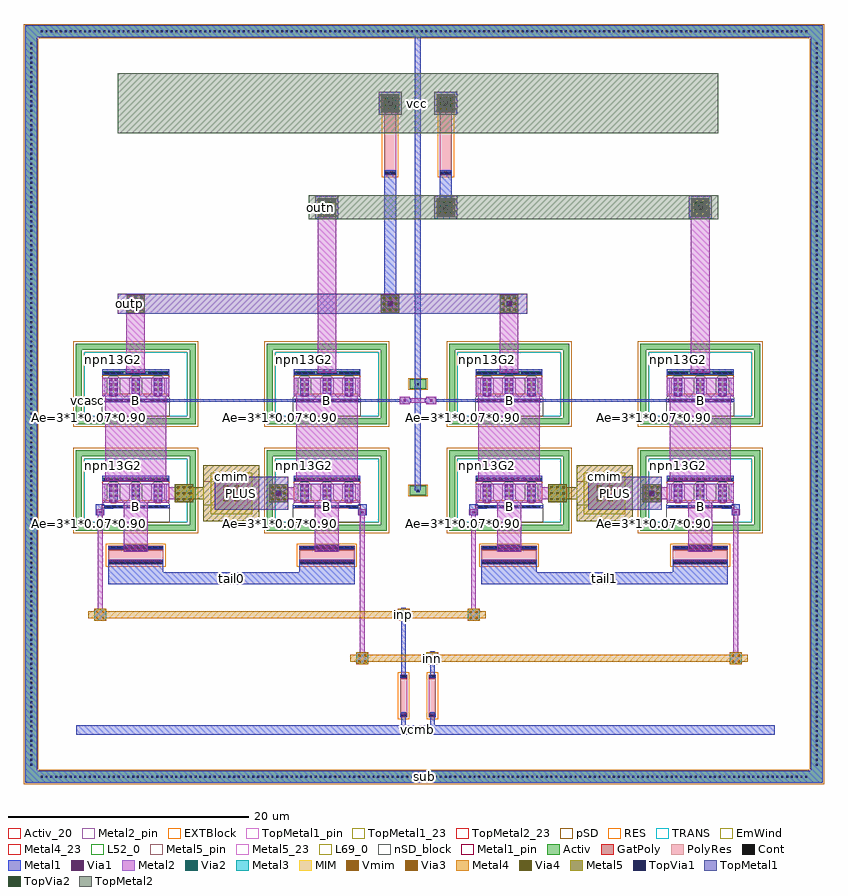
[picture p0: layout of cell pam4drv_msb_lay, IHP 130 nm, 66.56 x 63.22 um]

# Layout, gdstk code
import gdstk
lib = gdstk.Library(unit=1e-6, precision=1e-09)
def R(c, l, rs):  # rectangles x0, y0, x1, y1
    for r in rs: c.add(gdstk.rectangle(r[:2], r[2:], *l))
def A(c, l, x, y, w, h, nx, ny, dx, dy):  # array of equal rectangles
    R(c, l, [(x+i*dx, y+j*dy, x+i*dx+w, y+j*dy+h) for i in range(nx) for j in range(ny)])
def P(c, l, *ps):  # polygons
    for p in ps: c.add(gdstk.Polygon(p, *l))
Activ = (1, 0)
Activ_20 = (1, 20)
GatPoly = (5, 0)
Cont = (6, 0)
nSD_block = (7, 21)
Metal1 = (8, 0)
Metal1_pin = (8, 2)
Metal2 = (10, 0)
Metal2_pin = (10, 2)
pSD = (14, 0)
Via1 = (19, 0)
RES = (24, 0)
TRANS = (26, 0)
Via2 = (29, 0)
Metal3 = (30, 0)
EmWind = (33, 0)
MIM = (36, 0)
Via3 = (49, 0)
Metal4 = (50, 0)
Metal4_23 = (50, 23)
L52_0 = (52, 0)
Via4 = (66, 0)
Metal5 = (67, 0)
Metal5_pin = (67, 2)
Metal5_23 = (67, 23)
L69_0 = (69, 0)
EXTBlock = (111, 0)
TopVia1 = (125, 0)
TopMetal1 = (126, 0)
TopMetal1_pin = (126, 2)
TopMetal1_23 = (126, 23)
PolyRes = (128, 0)
Vmim = (129, 0)
TopVia2 = (133, 0)
TopMetal2 = (134, 0)
TopMetal2_23 = (134, 23)

pam4drv_msb_lay = lib.new_cell('pam4drv_msb_lay')
R(pam4drv_msb_lay, Activ, [(-0.7,3.165,0.7,3.945), (-26.255,4.31,-20.705,4.61), (-10.355,4.31,-4.805,4.61), (4.805,4.31,10.355,4.61), (20.705,4.31,26.255,4.61), (-0.7,12.015,0.7,12.795), (-26.255,13.16,-20.705,13.46), (-10.355,13.16,-4.805,13.46), (4.805,13.16,10.355,13.46), (20.705,13.16,26.255,13.46)])
P(pam4drv_msb_lay, Activ, [(-28.48,0.2),(-28.48,6.41),(-27.98,6.41),(-27.98,0.7),(-18.98,0.7),(-18.98,6.41),(-28.48,6.41),(-28.48,6.91),(-18.48,6.91),(-18.48,0.2)],
  [(-12.58,0.2),(-12.58,6.41),(-12.08,6.41),(-12.08,0.7),(-3.08,0.7),(-3.08,6.41),(-12.58,6.41),(-12.58,6.91),(-2.58,6.91),(-2.58,0.2)],
  [(2.58,0.2),(2.58,6.41),(3.08,6.41),(3.08,0.7),(12.08,0.7),(12.08,6.41),(2.58,6.41),(2.58,6.91),(12.58,6.91),(12.58,0.2)],
  [(18.48,0.2),(18.48,6.41),(18.98,6.41),(18.98,0.7),(27.98,0.7),(27.98,6.41),(18.48,6.41),(18.48,6.91),(28.48,6.91),(28.48,0.2)],
  [(-28.48,9.05),(-28.48,15.26),(-27.98,15.26),(-27.98,9.55),(-18.98,9.55),(-18.98,15.26),(-28.48,15.26),(-28.48,15.76),(-18.48,15.76),(-18.48,9.05)],
  [(-12.58,9.05),(-12.58,15.26),(-12.08,15.26),(-12.08,9.55),(-3.08,9.55),(-3.08,15.26),(-12.58,15.26),(-12.58,15.76),(-2.58,15.76),(-2.58,9.05)],
  [(2.58,9.05),(2.58,15.26),(3.08,15.26),(3.08,9.55),(12.08,9.55),(12.08,15.26),(2.58,15.26),(2.58,15.76),(12.58,15.76),(12.58,9.05)],
  [(18.48,9.05),(18.48,15.26),(18.98,15.26),(18.98,9.55),(27.98,9.55),(27.98,15.26),(18.48,15.26),(18.48,15.76),(28.48,15.76),(28.48,9.05)],
  [(-32.68,-20.76),(-32.68,41.26),(-31.68,41.26),(-31.68,-19.76),(32.68,-19.76),(32.68,41.26),(-32.68,41.26),(-32.68,42.26),(33.68,42.26),(33.68,-20.76)])
P(pam4drv_msb_lay, Activ_20, [(-25.565,2.5),(-25.775,2.71),(-26.255,2.71),(-26.255,4.31),(-20.705,4.31),(-20.705,2.71),(-21.185,2.71),(-21.395,2.5),(-21.865,2.5),(-22.075,2.71),(-23.035,2.71),(-23.245,2.5),(-23.715,2.5),(-23.925,2.71),(-24.885,2.71),(-25.095,2.5)],
  [(-9.665,2.5),(-9.875,2.71),(-10.355,2.71),(-10.355,4.31),(-4.805,4.31),(-4.805,2.71),(-5.285,2.71),(-5.495,2.5),(-5.965,2.5),(-6.175,2.71),(-7.135,2.71),(-7.345,2.5),(-7.815,2.5),(-8.025,2.71),(-8.985,2.71),(-9.195,2.5)],
  [(5.495,2.5),(5.285,2.71),(4.805,2.71),(4.805,4.31),(10.355,4.31),(10.355,2.71),(9.875,2.71),(9.665,2.5),(9.195,2.5),(8.985,2.71),(8.025,2.71),(7.815,2.5),(7.345,2.5),(7.135,2.71),(6.175,2.71),(5.965,2.5)],
  [(21.395,2.5),(21.185,2.71),(20.705,2.71),(20.705,4.31),(26.255,4.31),(26.255,2.71),(25.775,2.71),(25.565,2.5),(25.095,2.5),(24.885,2.71),(23.925,2.71),(23.715,2.5),(23.245,2.5),(23.035,2.71),(22.075,2.71),(21.865,2.5)],
  [(-25.565,11.35),(-25.775,11.56),(-26.255,11.56),(-26.255,13.16),(-20.705,13.16),(-20.705,11.56),(-21.185,11.56),(-21.395,11.35),(-21.865,11.35),(-22.075,11.56),(-23.035,11.56),(-23.245,11.35),(-23.715,11.35),(-23.925,11.56),(-24.885,11.56),(-25.095,11.35)],
  [(-9.665,11.35),(-9.875,11.56),(-10.355,11.56),(-10.355,13.16),(-4.805,13.16),(-4.805,11.56),(-5.285,11.56),(-5.495,11.35),(-5.965,11.35),(-6.175,11.56),(-7.135,11.56),(-7.345,11.35),(-7.815,11.35),(-8.025,11.56),(-8.985,11.56),(-9.195,11.35)],
  [(5.495,11.35),(5.285,11.56),(4.805,11.56),(4.805,13.16),(10.355,13.16),(10.355,11.56),(9.875,11.56),(9.665,11.35),(9.195,11.35),(8.985,11.56),(8.025,11.56),(7.815,11.35),(7.345,11.35),(7.135,11.56),(6.175,11.56),(5.965,11.35)],
  [(21.395,11.35),(21.185,11.56),(20.705,11.56),(20.705,13.16),(26.255,13.16),(26.255,11.56),(25.775,11.56),(25.565,11.35),(25.095,11.35),(24.885,11.56),(23.925,11.56),(23.715,11.35),(23.245,11.35),(23.035,11.56),(22.075,11.56),(21.865,11.35)])
R(pam4drv_msb_lay, GatPoly, [(-1.49,-15.31,-0.91,-14.96), (0.91,-15.31,1.49,-14.96), (-1.49,-12.11,-0.91,-11.76), (0.91,-12.11,1.49,-11.76), (-25.785,-2.6,-21.175,-2.25), (-9.885,-2.6,-5.275,-2.25), (5.275,-2.6,9.885,-2.25), (21.175,-2.6,25.785,-2.25), (-25.785,-1.4,-21.175,-1.05), (-9.885,-1.4,-5.275,-1.05), (5.275,-1.4,9.885,-1.05), (21.175,-1.4,25.785,-1.05), (-2.825,29.78,-1.815,30.13), (1.815,29.78,2.825,30.13), (-2.825,35.56,-1.815,35.91), (1.815,35.56,2.825,35.91)])
A(pam4drv_msb_lay, Cont, -31.38, -20.34, 0.16, 0.16, 160, 2, 0.4, 62.02)
A(pam4drv_msb_lay, Cont, -32.26, -19.33, 0.16, 0.16, 1, 151, 0, 0.4)
A(pam4drv_msb_lay, Cont, 33.1, -19.33, 0.16, 0.16, 1, 151, 0, 0.4)
A(pam4drv_msb_lay, Cont, -26.09, 2.11, 1.52, 0.16, 3, 2, 1.85, 8.85)
A(pam4drv_msb_lay, Cont, -10.19, 2.11, 1.52, 0.16, 3, 2, 1.85, 8.85)
A(pam4drv_msb_lay, Cont, 4.97, 2.11, 1.52, 0.16, 3, 2, 1.85, 8.85)
A(pam4drv_msb_lay, Cont, 20.87, 2.11, 1.52, 0.16, 3, 2, 1.85, 8.85)
A(pam4drv_msb_lay, Cont, -26.155, 4.38, 1.65, 0.16, 3, 2, 1.85, 8.85)
A(pam4drv_msb_lay, Cont, -10.255, 4.38, 1.65, 0.16, 3, 2, 1.85, 8.85)
A(pam4drv_msb_lay, Cont, 4.905, 4.38, 1.65, 0.16, 3, 2, 1.85, 8.85)
A(pam4drv_msb_lay, Cont, 20.805, 4.38, 1.65, 0.16, 3, 2, 1.85, 8.85)
R(pam4drv_msb_lay, Cont, [(-1.42,-15.24,-0.98,-15.08), (0.98,-15.24,1.42,-15.08), (-1.42,-11.99,-0.98,-11.83), (0.98,-11.99,1.42,-11.83), (-25.715,-2.53,-21.245,-2.37), (-9.815,-2.53,-5.345,-2.37), (5.345,-2.53,9.815,-2.37), (21.245,-2.53,25.715,-2.37), (-25.715,-1.28,-21.245,-1.12), (-9.815,-1.28,-5.345,-1.12), (5.345,-1.28,9.815,-1.12), (21.245,-1.28,25.715,-1.12), (-0.08,3.475,0.08,3.635), (-0.08,12.325,0.08,12.485), (-2.755,29.85,-1.885,30.01), (1.885,29.85,2.755,30.01), (-2.755,35.68,-1.885,35.84), (1.885,35.68,2.755,35.84)])
P(pam4drv_msb_lay, nSD_block, [(-26.305,0.9),(-26.305,2.43),(-25.885,2.85),(-25.885,4.02),(-25.635,4.27),(-25.025,4.27),(-24.775,4.02),(-24.775,2.85),(-24.405,2.48),(-24.035,2.85),(-24.035,4.02),(-23.785,4.27),(-23.175,4.27),(-22.925,4.02),(-22.925,2.85),(-22.555,2.48),(-22.185,2.85),(-22.185,4.02),(-21.935,4.27),(-21.325,4.27),(-21.075,4.02),(-21.075,2.85),(-20.655,2.43),(-20.655,0.9)],
  [(-10.405,0.9),(-10.405,2.43),(-9.985,2.85),(-9.985,4.02),(-9.735,4.27),(-9.125,4.27),(-8.875,4.02),(-8.875,2.85),(-8.505,2.48),(-8.135,2.85),(-8.135,4.02),(-7.885,4.27),(-7.275,4.27),(-7.025,4.02),(-7.025,2.85),(-6.655,2.48),(-6.285,2.85),(-6.285,4.02),(-6.035,4.27),(-5.425,4.27),(-5.175,4.02),(-5.175,2.85),(-4.755,2.43),(-4.755,0.9)],
  [(4.755,0.9),(4.755,2.43),(5.175,2.85),(5.175,4.02),(5.425,4.27),(6.035,4.27),(6.285,4.02),(6.285,2.85),(6.655,2.48),(7.025,2.85),(7.025,4.02),(7.275,4.27),(7.885,4.27),(8.135,4.02),(8.135,2.85),(8.505,2.48),(8.875,2.85),(8.875,4.02),(9.125,4.27),(9.735,4.27),(9.985,4.02),(9.985,2.85),(10.405,2.43),(10.405,0.9)],
  [(20.655,0.9),(20.655,2.43),(21.075,2.85),(21.075,4.02),(21.325,4.27),(21.935,4.27),(22.185,4.02),(22.185,2.85),(22.555,2.48),(22.925,2.85),(22.925,4.02),(23.175,4.27),(23.785,4.27),(24.035,4.02),(24.035,2.85),(24.405,2.48),(24.775,2.85),(24.775,4.02),(25.025,4.27),(25.635,4.27),(25.885,4.02),(25.885,2.85),(26.305,2.43),(26.305,0.9)],
  [(-26.305,9.75),(-26.305,11.28),(-25.885,11.7),(-25.885,12.87),(-25.635,13.12),(-25.025,13.12),(-24.775,12.87),(-24.775,11.7),(-24.405,11.33),(-24.035,11.7),(-24.035,12.87),(-23.785,13.12),(-23.175,13.12),(-22.925,12.87),(-22.925,11.7),(-22.555,11.33),(-22.185,11.7),(-22.185,12.87),(-21.935,13.12),(-21.325,13.12),(-21.075,12.87),(-21.075,11.7),(-20.655,11.28),(-20.655,9.75)],
  [(-10.405,9.75),(-10.405,11.28),(-9.985,11.7),(-9.985,12.87),(-9.735,13.12),(-9.125,13.12),(-8.875,12.87),(-8.875,11.7),(-8.505,11.33),(-8.135,11.7),(-8.135,12.87),(-7.885,13.12),(-7.275,13.12),(-7.025,12.87),(-7.025,11.7),(-6.655,11.33),(-6.285,11.7),(-6.285,12.87),(-6.035,13.12),(-5.425,13.12),(-5.175,12.87),(-5.175,11.7),(-4.755,11.28),(-4.755,9.75)],
  [(4.755,9.75),(4.755,11.28),(5.175,11.7),(5.175,12.87),(5.425,13.12),(6.035,13.12),(6.285,12.87),(6.285,11.7),(6.655,11.33),(7.025,11.7),(7.025,12.87),(7.275,13.12),(7.885,13.12),(8.135,12.87),(8.135,11.7),(8.505,11.33),(8.875,11.7),(8.875,12.87),(9.125,13.12),(9.735,13.12),(9.985,12.87),(9.985,11.7),(10.405,11.28),(10.405,9.75)],
  [(20.655,9.75),(20.655,11.28),(21.075,11.7),(21.075,12.87),(21.325,13.12),(21.935,13.12),(22.185,12.87),(22.185,11.7),(22.555,11.33),(22.925,11.7),(22.925,12.87),(23.175,13.12),(23.785,13.12),(24.035,12.87),(24.035,11.7),(24.405,11.33),(24.775,11.7),(24.775,12.87),(25.025,13.12),(25.635,13.12),(25.885,12.87),(25.885,11.7),(26.305,11.28),(26.305,9.75)])
A(pam4drv_msb_lay, Metal1, -25.68, 2.545, 0.7, 1.555, 3, 2, 1.85, 8.85)
A(pam4drv_msb_lay, Metal1, -9.78, 2.545, 0.7, 1.555, 3, 2, 1.85, 8.85)
A(pam4drv_msb_lay, Metal1, 5.38, 2.545, 0.7, 1.555, 3, 2, 1.85, 8.85)
A(pam4drv_msb_lay, Metal1, 21.28, 2.545, 0.7, 1.555, 3, 2, 1.85, 8.85)
R(pam4drv_msb_lay, Metal1, [(-3.08,35,-1.56,36.52), (1.56,35,3.08,36.52)])
P(pam4drv_msb_lay, Metal1, [(-28.435,-16.76),(-28.435,-15.96),(-1.4,-15.96),(-1.4,-15.29),(-1.47,-15.29),(-1.47,-15.03),(-1.4,-15.03),(-1.4,-14.91),(-1,-14.91),(-1,-15.03),(-0.93,-15.03),(-0.93,-15.29),(-1,-15.29),(-1,-15.96),(1,-15.96),(1,-15.29),(0.93,-15.29),(0.93,-15.03),(1,-15.03),(1,-14.91),(1.4,-14.91),(1.4,-15.03),(1.47,-15.03),(1.47,-15.29),(1.4,-15.29),(1.4,-15.96),(29.68,-15.96),(29.68,-16.76)],
  [(0.93,-12.04),(0.93,-11.78),(1,-11.78),(1,-10.91),(0.7,-10.91),(0.7,-9.91),(1,-9.91),(1,-9.81),(1.4,-9.81),(1.4,-9.91),(1.7,-9.91),(1.7,-10.91),(1.4,-10.91),(1.4,-11.78),(1.47,-11.78),(1.47,-12.04)],
  [(-1.47,-12.04),(-1.47,-11.78),(-1.4,-11.78),(-1.4,-7.28),(-1.7,-7.28),(-1.7,-6.28),(-1.4,-6.28),(-1.4,-6.18),(-1,-6.18),(-1,-6.28),(-0.7,-6.28),(-0.7,-7.28),(-1,-7.28),(-1,-11.78),(-0.93,-11.78),(-0.93,-12.04)],
  [(-25.785,-4.25),(-25.785,-2.2),(-21.175,-2.2),(-21.175,-3.25),(-9.885,-3.25),(-9.885,-2.2),(-5.275,-2.2),(-5.275,-4.25)],
  [(5.275,-4.25),(5.275,-2.2),(9.885,-2.2),(9.885,-3.25),(21.175,-3.25),(21.175,-2.2),(25.785,-2.2),(25.785,-4.25)],
  [(-24.38,-1.45),(-24.38,-1.33),(-25.765,-1.33),(-25.765,-1.07),(-24.38,-1.07),(-24.38,-0.95),(-22.58,-0.95),(-22.58,-1.07),(-21.195,-1.07),(-21.195,-1.33),(-22.58,-1.33),(-22.58,-1.45)],
  [(-8.48,-1.45),(-8.48,-1.33),(-9.865,-1.33),(-9.865,-1.07),(-8.48,-1.07),(-8.48,-0.95),(-6.68,-0.95),(-6.68,-1.07),(-5.295,-1.07),(-5.295,-1.33),(-6.68,-1.33),(-6.68,-1.45)],
  [(6.68,-1.45),(6.68,-1.33),(5.295,-1.33),(5.295,-1.07),(6.68,-1.07),(6.68,-0.95),(8.48,-0.95),(8.48,-1.07),(9.865,-1.07),(9.865,-1.33),(8.48,-1.33),(8.48,-1.45)],
  [(22.58,-1.45),(22.58,-1.33),(21.195,-1.33),(21.195,-1.07),(22.58,-1.07),(22.58,-0.95),(24.38,-0.95),(24.38,-1.07),(25.765,-1.07),(25.765,-1.33),(24.38,-1.33),(24.38,-1.45)],
  [(-26.785,1.49),(-26.785,2.4),(-26.085,2.4),(-26.085,2.34),(-25.33,2.34),(-25.33,2.32),(-20.78,2.32),(-20.78,2.31),(-20.655,2.31),(-20.655,2.07),(-20.78,2.07),(-20.78,2.06),(-25.33,2.06),(-25.33,2.04),(-26.085,2.04),(-26.085,1.49)],
  [(-4.975,1.49),(-4.975,2.04),(-5.73,2.04),(-5.73,2.06),(-10.28,2.06),(-10.28,2.07),(-10.405,2.07),(-10.405,2.31),(-10.28,2.31),(-10.28,2.32),(-5.73,2.32),(-5.73,2.34),(-4.975,2.34),(-4.975,2.4),(-4.275,2.4),(-4.275,1.49)],
  [(4.275,1.49),(4.275,2.4),(4.975,2.4),(4.975,2.34),(5.73,2.34),(5.73,2.32),(10.28,2.32),(10.28,2.31),(10.405,2.31),(10.405,2.07),(10.28,2.07),(10.28,2.06),(5.73,2.06),(5.73,2.04),(4.975,2.04),(4.975,1.49)],
  [(26.085,1.49),(26.085,2.04),(25.33,2.04),(25.33,2.06),(20.78,2.06),(20.78,2.07),(20.655,2.07),(20.655,2.31),(20.78,2.31),(20.78,2.32),(25.33,2.32),(25.33,2.34),(26.085,2.34),(26.085,2.4),(26.785,2.4),(26.785,1.49)],
  [(-26.2,4.33),(-26.2,4.35),(-26.255,4.35),(-26.255,4.79),(-20.705,4.79),(-20.705,4.35),(-20.76,4.35),(-20.76,4.33)],
  [(-10.3,4.33),(-10.3,4.35),(-10.355,4.35),(-10.355,4.79),(-4.805,4.79),(-4.805,4.35),(-4.86,4.35),(-4.86,4.33)],
  [(4.86,4.33),(4.86,4.35),(4.805,4.35),(4.805,4.79),(10.355,4.79),(10.355,4.35),(10.3,4.35),(10.3,4.33)],
  [(20.76,4.33),(20.76,4.35),(20.705,4.35),(20.705,4.79),(26.255,4.79),(26.255,4.35),(26.2,4.35),(26.2,4.33)],
  [(-1.5,10.74),(-1.5,10.92),(-4.88,10.92),(-4.88,10.91),(-10.28,10.91),(-10.28,10.92),(-20.78,10.92),(-20.78,10.91),(-26.18,10.91),(-26.18,10.92),(-27.8,10.92),(-27.8,11.16),(-26.18,11.16),(-26.18,11.17),(-20.78,11.17),(-20.78,11.16),(-10.28,11.16),(-10.28,11.17),(-4.88,11.17),(-4.88,11.16),(-1.5,11.16),(-1.5,11.34),(-0.7,11.34),(-0.7,11.16),(-0.55,11.16),(-0.55,10.92),(-0.7,10.92),(-0.7,10.74)],
  [(0.7,10.74),(0.7,10.92),(0.55,10.92),(0.55,11.16),(0.7,11.16),(0.7,11.34),(1.5,11.34),(1.5,11.16),(4.88,11.16),(4.88,11.17),(10.28,11.17),(10.28,11.16),(20.78,11.16),(20.78,11.17),(26.18,11.17),(26.18,11.16),(26.305,11.16),(26.305,10.92),(26.18,10.92),(26.18,10.91),(20.78,10.91),(20.78,10.92),(10.28,10.92),(10.28,10.91),(4.88,10.91),(4.88,10.92),(1.5,10.92),(1.5,10.74)],
  [(-26.2,13.18),(-26.2,13.2),(-26.255,13.2),(-26.255,13.64),(-20.705,13.64),(-20.705,13.2),(-20.76,13.2),(-20.76,13.18)],
  [(-10.3,13.18),(-10.3,13.2),(-10.355,13.2),(-10.355,13.64),(-4.805,13.64),(-4.805,13.2),(-4.86,13.2),(-4.86,13.18)],
  [(4.86,13.18),(4.86,13.2),(4.805,13.2),(4.805,13.64),(10.355,13.64),(10.355,13.2),(10.3,13.2),(10.3,13.18)],
  [(20.76,13.18),(20.76,13.2),(20.705,13.2),(20.705,13.64),(26.255,13.64),(26.255,13.2),(26.2,13.2),(26.2,13.18)],
  [(-3.08,18.325),(-3.08,19.845),(-2.825,19.845),(-2.825,30.18),(-1.815,30.18),(-1.815,19.845),(-1.56,19.845),(-1.56,18.325)],
  [(1.56,26.345),(1.56,27.865),(1.815,27.865),(1.815,30.18),(2.825,30.18),(2.825,27.865),(3.08,27.865),(3.08,26.345)],
  [(-32.68,-20.76),(-32.68,41.26),(0.25,41.26),(0.25,3.555),(0.14,3.555),(0.14,3.415),(-0.14,3.415),(-0.14,3.555),(-0.25,3.555),(-0.25,41.26),(-31.68,41.26),(-31.68,-19.76),(32.68,-19.76),(32.68,41.26),(-32.68,41.26),(-32.68,42.26),(33.68,42.26),(33.68,-20.76)])
R(pam4drv_msb_lay, Metal1_pin, [(-1.47,-15.29,-0.93,-15.03), (0.93,-15.29,1.47,-15.03), (-1.47,-12.04,-0.93,-11.78), (0.93,-12.04,1.47,-11.78), (-25.765,-2.58,-21.195,-2.32), (-9.865,-2.58,-5.295,-2.32), (5.295,-2.58,9.865,-2.32), (21.195,-2.58,25.765,-2.32), (-25.765,-1.33,-21.195,-1.07), (-9.865,-1.33,-5.295,-1.07), (5.295,-1.33,9.865,-1.07), (21.195,-1.33,25.765,-1.07), (-26.305,2.07,-20.655,2.31), (-10.405,2.07,-4.755,2.31), (4.755,2.07,10.405,2.31), (20.655,2.07,26.305,2.31), (-26.255,4.35,-20.705,4.79), (-10.355,4.35,-4.805,4.79), (4.805,4.35,10.355,4.79), (20.705,4.35,26.255,4.79), (-26.305,10.92,-20.655,11.16), (-10.405,10.92,-4.755,11.16), (4.755,10.92,10.405,11.16), (20.655,10.92,26.305,11.16), (-26.255,13.2,-20.705,13.64), (-10.355,13.2,-4.805,13.64), (4.805,13.2,10.355,13.64), (20.705,13.2,26.255,13.64), (-2.805,29.8,-1.835,30.06), (1.835,29.8,2.805,30.06), (-2.805,35.63,-1.835,35.89), (1.835,35.63,2.805,35.89)])
R(pam4drv_msb_lay, Metal2, [(0.7,-10.91,1.7,-9.91), (-1.7,-7.28,-0.7,-6.28), (-3.08,18.325,-1.56,19.845), (1.56,26.345,3.08,27.865), (-3.08,35,-1.56,36.52), (1.56,35,3.08,36.52)])
P(pam4drv_msb_lay, Metal2, [(-26.935,-7.28),(-26.935,-6.28),(-26.635,-6.28),(-26.635,1.49),(-26.735,1.49),(-26.735,1.99),(-26.135,1.99),(-26.135,1.49),(-26.235,1.49),(-26.235,-6.28),(-25.935,-6.28),(-25.935,-7.28)],
  [(-5.125,-10.91),(-5.125,-9.91),(-4.825,-9.91),(-4.825,1.49),(-4.925,1.49),(-4.925,1.99),(-4.325,1.99),(-4.325,1.49),(-4.425,1.49),(-4.425,-9.91),(-4.125,-9.91),(-4.125,-10.91)],
  [(4.125,-7.28),(4.125,-6.28),(4.425,-6.28),(4.425,1.49),(4.325,1.49),(4.325,1.99),(4.925,1.99),(4.925,1.49),(4.825,1.49),(4.825,-6.28),(5.125,-6.28),(5.125,-7.28)],
  [(25.935,-10.91),(25.935,-9.91),(26.235,-9.91),(26.235,1.49),(26.135,1.49),(26.135,1.99),(26.735,1.99),(26.735,1.49),(26.635,1.49),(26.635,-9.91),(26.935,-9.91),(26.935,-10.91)],
  [(-24.48,-1.55),(-24.48,2.545),(-26.255,2.545),(-26.255,4.1),(-20.705,4.1),(-20.705,3.82),(-20.215,3.82),(-20.215,4.08),(-18.695,4.08),(-18.695,2.56),(-20.215,2.56),(-20.215,2.82),(-20.705,2.82),(-20.705,2.545),(-22.48,2.545),(-22.48,-1.55)],
  [(-8.58,-1.55),(-8.58,2.545),(-10.355,2.545),(-10.355,2.82),(-10.845,2.82),(-10.845,2.56),(-12.365,2.56),(-12.365,4.08),(-10.845,4.08),(-10.845,3.82),(-10.355,3.82),(-10.355,4.1),(-4.805,4.1),(-4.805,2.545),(-6.58,2.545),(-6.58,-1.55)],
  [(6.58,-1.55),(6.58,2.545),(4.805,2.545),(4.805,4.1),(10.355,4.1),(10.355,3.82),(10.845,3.82),(10.845,4.08),(12.365,4.08),(12.365,2.56),(10.845,2.56),(10.845,2.82),(10.355,2.82),(10.355,2.545),(8.58,2.545),(8.58,-1.55)],
  [(22.48,-1.55),(22.48,2.545),(20.705,2.545),(20.705,2.82),(20.215,2.82),(20.215,2.56),(18.695,2.56),(18.695,4.08),(20.215,4.08),(20.215,3.82),(20.705,3.82),(20.705,4.1),(26.255,4.1),(26.255,2.545),(24.48,2.545),(24.48,-1.55)],
  [(-1.5,10.74),(-1.5,11.34),(-0.7,11.34),(-0.7,11.24),(0.7,11.24),(0.7,11.34),(1.5,11.34),(1.5,10.74),(0.7,10.74),(0.7,10.84),(-0.7,10.84),(-0.7,10.74)],
  [(-26.03,4.37),(-26.03,11.395),(-26.255,11.395),(-26.255,12.95),(-20.705,12.95),(-20.705,11.395),(-20.93,11.395),(-20.93,4.37)],
  [(-10.13,4.37),(-10.13,11.395),(-10.355,11.395),(-10.355,12.95),(-4.805,12.95),(-4.805,11.395),(-5.03,11.395),(-5.03,4.37)],
  [(5.03,4.37),(5.03,11.395),(4.805,11.395),(4.805,12.95),(10.355,12.95),(10.355,11.395),(10.13,11.395),(10.13,4.37)],
  [(20.93,4.37),(20.93,11.395),(20.705,11.395),(20.705,12.95),(26.255,12.95),(26.255,11.395),(26.03,11.395),(26.03,4.37)],
  [(-24.25,13.34),(-24.25,19.085),(-24.24,19.085),(-24.24,19.845),(-22.72,19.845),(-22.72,19.085),(-22.71,19.085),(-22.71,13.34)],
  [(6.81,13.34),(6.81,19.085),(6.82,19.085),(6.82,19.845),(8.34,19.845),(8.34,19.085),(8.35,19.085),(8.35,13.34)],
  [(-8.35,13.34),(-8.35,27.105),(-8.34,27.105),(-8.34,27.865),(-6.82,27.865),(-6.82,27.105),(-6.81,27.105),(-6.81,13.34)],
  [(22.71,13.34),(22.71,27.105),(22.72,27.105),(22.72,27.865),(24.24,27.865),(24.24,27.105),(24.25,27.105),(24.25,13.34)])
R(pam4drv_msb_lay, Metal2_pin, [(-26.075,2.545,-20.885,4.1), (-10.175,2.545,-4.985,4.1), (4.985,2.545,10.175,4.1), (20.885,2.545,26.075,4.1), (-26.075,11.395,-20.885,12.95), (-10.175,11.395,-4.985,12.95), (4.985,11.395,10.175,12.95), (20.885,11.395,26.075,12.95)])
R(pam4drv_msb_lay, pSD, [(-0.8,3.065,0.8,4.045), (-0.8,11.915,0.8,12.895)])
P(pam4drv_msb_lay, pSD, [(-28.68,0),(-28.68,6.21),(-27.78,6.21),(-27.78,0.9),(-19.18,0.9),(-19.18,6.21),(-28.68,6.21),(-28.68,7.11),(-18.28,7.11),(-18.28,0)],
  [(-12.78,0),(-12.78,6.21),(-11.88,6.21),(-11.88,0.9),(-3.28,0.9),(-3.28,6.21),(-12.78,6.21),(-12.78,7.11),(-2.38,7.11),(-2.38,0)],
  [(2.38,0),(2.38,6.21),(3.28,6.21),(3.28,0.9),(11.88,0.9),(11.88,6.21),(2.38,6.21),(2.38,7.11),(12.78,7.11),(12.78,0)],
  [(18.28,0),(18.28,6.21),(19.18,6.21),(19.18,0.9),(27.78,0.9),(27.78,6.21),(18.28,6.21),(18.28,7.11),(28.68,7.11),(28.68,0)],
  [(-28.68,8.85),(-28.68,15.06),(-27.78,15.06),(-27.78,9.75),(-19.18,9.75),(-19.18,15.06),(-28.68,15.06),(-28.68,15.96),(-18.28,15.96),(-18.28,8.85)],
  [(-12.78,8.85),(-12.78,15.06),(-11.88,15.06),(-11.88,9.75),(-3.28,9.75),(-3.28,15.06),(-12.78,15.06),(-12.78,15.96),(-2.38,15.96),(-2.38,8.85)],
  [(2.38,8.85),(2.38,15.06),(3.28,15.06),(3.28,9.75),(11.88,9.75),(11.88,15.06),(2.38,15.06),(2.38,15.96),(12.78,15.96),(12.78,8.85)],
  [(18.28,8.85),(18.28,15.06),(19.18,15.06),(19.18,9.75),(27.78,9.75),(27.78,15.06),(18.28,15.06),(18.28,15.96),(28.68,15.96),(28.68,8.85)],
  [(-32.78,-20.86),(-32.78,41.16),(-31.58,41.16),(-31.58,-19.66),(32.58,-19.66),(32.58,41.16),(-32.78,41.16),(-32.78,42.36),(33.78,42.36),(33.78,-20.86)])
A(pam4drv_msb_lay, Via1, -24.075, -1.295, 0.19, 0.19, 3, 1, 0.5, 0)
A(pam4drv_msb_lay, Via1, -8.175, -1.295, 0.19, 0.19, 3, 1, 0.5, 0)
A(pam4drv_msb_lay, Via1, 6.985, -1.295, 0.19, 0.19, 3, 1, 0.5, 0)
A(pam4drv_msb_lay, Via1, 22.885, -1.295, 0.19, 0.19, 3, 1, 0.5, 0)
A(pam4drv_msb_lay, Via1, -25.63, 2.61, 0.19, 0.19, 1, 4, 0, 0.41)
A(pam4drv_msb_lay, Via1, -25.22, 2.61, 0.19, 0.19, 1, 4, 0, 0.41)
A(pam4drv_msb_lay, Via1, -23.78, 2.61, 0.19, 0.19, 1, 4, 0, 0.41)
A(pam4drv_msb_lay, Via1, -23.37, 2.61, 0.19, 0.19, 1, 4, 0, 0.41)
A(pam4drv_msb_lay, Via1, -21.93, 2.61, 0.19, 0.19, 1, 4, 0, 0.41)
A(pam4drv_msb_lay, Via1, -21.52, 2.61, 0.19, 0.19, 1, 4, 0, 0.41)
A(pam4drv_msb_lay, Via1, -9.73, 2.61, 0.19, 0.19, 1, 4, 0, 0.41)
A(pam4drv_msb_lay, Via1, -9.32, 2.61, 0.19, 0.19, 1, 4, 0, 0.41)
A(pam4drv_msb_lay, Via1, -7.88, 2.61, 0.19, 0.19, 1, 4, 0, 0.41)
A(pam4drv_msb_lay, Via1, -7.47, 2.61, 0.19, 0.19, 1, 4, 0, 0.41)
A(pam4drv_msb_lay, Via1, -6.03, 2.61, 0.19, 0.19, 1, 4, 0, 0.41)
A(pam4drv_msb_lay, Via1, -5.62, 2.61, 0.19, 0.19, 1, 4, 0, 0.41)
A(pam4drv_msb_lay, Via1, 5.43, 2.61, 0.19, 0.19, 1, 4, 0, 0.41)
A(pam4drv_msb_lay, Via1, 5.84, 2.61, 0.19, 0.19, 1, 4, 0, 0.41)
A(pam4drv_msb_lay, Via1, 7.28, 2.61, 0.19, 0.19, 1, 4, 0, 0.41)
A(pam4drv_msb_lay, Via1, 7.69, 2.61, 0.19, 0.19, 1, 4, 0, 0.41)
A(pam4drv_msb_lay, Via1, 9.13, 2.61, 0.19, 0.19, 1, 4, 0, 0.41)
A(pam4drv_msb_lay, Via1, 9.54, 2.61, 0.19, 0.19, 1, 4, 0, 0.41)
A(pam4drv_msb_lay, Via1, 21.33, 2.61, 0.19, 0.19, 1, 4, 0, 0.41)
A(pam4drv_msb_lay, Via1, 21.74, 2.61, 0.19, 0.19, 1, 4, 0, 0.41)
A(pam4drv_msb_lay, Via1, 23.18, 2.61, 0.19, 0.19, 1, 4, 0, 0.41)
A(pam4drv_msb_lay, Via1, 23.59, 2.61, 0.19, 0.19, 1, 4, 0, 0.41)
A(pam4drv_msb_lay, Via1, 25.03, 2.61, 0.19, 0.19, 1, 4, 0, 0.41)
A(pam4drv_msb_lay, Via1, 25.44, 2.61, 0.19, 0.19, 1, 4, 0, 0.41)
A(pam4drv_msb_lay, Via1, -25.825, 4.475, 0.19, 0.19, 10, 1, 0.5, 0)
A(pam4drv_msb_lay, Via1, -9.925, 4.475, 0.19, 0.19, 10, 1, 0.5, 0)
A(pam4drv_msb_lay, Via1, 5.235, 4.475, 0.19, 0.19, 10, 1, 0.5, 0)
A(pam4drv_msb_lay, Via1, 21.135, 4.475, 0.19, 0.19, 10, 1, 0.5, 0)
A(pam4drv_msb_lay, Via1, -25.63, 11.46, 0.19, 0.19, 1, 4, 0, 0.41)
A(pam4drv_msb_lay, Via1, -25.22, 11.46, 0.19, 0.19, 1, 4, 0, 0.41)
A(pam4drv_msb_lay, Via1, -23.78, 11.46, 0.19, 0.19, 1, 4, 0, 0.41)
A(pam4drv_msb_lay, Via1, -23.37, 11.46, 0.19, 0.19, 1, 4, 0, 0.41)
A(pam4drv_msb_lay, Via1, -21.93, 11.46, 0.19, 0.19, 1, 4, 0, 0.41)
A(pam4drv_msb_lay, Via1, -21.52, 11.46, 0.19, 0.19, 1, 4, 0, 0.41)
A(pam4drv_msb_lay, Via1, -9.73, 11.46, 0.19, 0.19, 1, 4, 0, 0.41)
A(pam4drv_msb_lay, Via1, -9.32, 11.46, 0.19, 0.19, 1, 4, 0, 0.41)
A(pam4drv_msb_lay, Via1, -7.88, 11.46, 0.19, 0.19, 1, 4, 0, 0.41)
A(pam4drv_msb_lay, Via1, -7.47, 11.46, 0.19, 0.19, 1, 4, 0, 0.41)
A(pam4drv_msb_lay, Via1, -6.03, 11.46, 0.19, 0.19, 1, 4, 0, 0.41)
A(pam4drv_msb_lay, Via1, -5.62, 11.46, 0.19, 0.19, 1, 4, 0, 0.41)
A(pam4drv_msb_lay, Via1, 5.43, 11.46, 0.19, 0.19, 1, 4, 0, 0.41)
A(pam4drv_msb_lay, Via1, 5.84, 11.46, 0.19, 0.19, 1, 4, 0, 0.41)
A(pam4drv_msb_lay, Via1, 7.28, 11.46, 0.19, 0.19, 1, 4, 0, 0.41)
A(pam4drv_msb_lay, Via1, 7.69, 11.46, 0.19, 0.19, 1, 4, 0, 0.41)
A(pam4drv_msb_lay, Via1, 9.13, 11.46, 0.19, 0.19, 1, 4, 0, 0.41)
A(pam4drv_msb_lay, Via1, 9.54, 11.46, 0.19, 0.19, 1, 4, 0, 0.41)
A(pam4drv_msb_lay, Via1, 21.33, 11.46, 0.19, 0.19, 1, 4, 0, 0.41)
A(pam4drv_msb_lay, Via1, 21.74, 11.46, 0.19, 0.19, 1, 4, 0, 0.41)
A(pam4drv_msb_lay, Via1, 23.18, 11.46, 0.19, 0.19, 1, 4, 0, 0.41)
A(pam4drv_msb_lay, Via1, 23.59, 11.46, 0.19, 0.19, 1, 4, 0, 0.41)
A(pam4drv_msb_lay, Via1, 25.03, 11.46, 0.19, 0.19, 1, 4, 0, 0.41)
A(pam4drv_msb_lay, Via1, 25.44, 11.46, 0.19, 0.19, 1, 4, 0, 0.41)
A(pam4drv_msb_lay, Via1, -2.915, 18.49, 0.19, 0.19, 3, 3, 0.5, 0.5)
A(pam4drv_msb_lay, Via1, 1.725, 26.51, 0.19, 0.19, 3, 3, 0.5, 0.5)
A(pam4drv_msb_lay, Via1, -2.915, 35.165, 0.19, 0.19, 3, 3, 0.5, 0.5)
A(pam4drv_msb_lay, Via1, 1.725, 35.165, 0.19, 0.19, 3, 3, 0.5, 0.5)
R(pam4drv_msb_lay, Via1, [(0.855,-10.755,1.045,-10.565), (1.355,-10.755,1.545,-10.565), (0.855,-10.255,1.045,-10.065), (1.355,-10.255,1.545,-10.065), (-1.545,-7.125,-1.355,-6.935), (-1.045,-7.125,-0.855,-6.935), (-1.545,-6.625,-1.355,-6.435), (-1.045,-6.625,-0.855,-6.435), (-26.53,1.645,-26.34,1.835), (-4.72,1.645,-4.53,1.835), (4.53,1.645,4.72,1.835), (26.34,1.645,26.53,1.835), (-1.195,10.945,-1.005,11.135), (1.005,10.945,1.195,11.135), (-23.825,13.395,-23.635,13.585), (-23.325,13.395,-23.135,13.585), (-7.925,13.395,-7.735,13.585), (-7.425,13.395,-7.235,13.585), (7.235,13.395,7.425,13.585), (7.735,13.395,7.925,13.585), (23.135,13.395,23.325,13.585), (23.635,13.395,23.825,13.585)])
R(pam4drv_msb_lay, RES, [(-1.49,-14.96,-0.91,-12.11), (0.91,-14.96,1.49,-12.11), (-25.785,-2.25,-21.175,-1.4), (-9.885,-2.25,-5.275,-1.4), (5.275,-2.25,9.885,-1.4), (21.175,-2.25,25.785,-1.4), (-2.825,30.13,-1.815,35.56), (1.815,30.13,2.825,35.56)])
R(pam4drv_msb_lay, TRANS, [(-27.78,0.9,-19.18,6.21), (-11.88,0.9,-3.28,6.21), (3.28,0.9,11.88,6.21), (19.18,0.9,27.78,6.21), (-27.78,9.75,-19.18,15.06), (-11.88,9.75,-3.28,15.06), (3.28,9.75,11.88,15.06), (19.18,9.75,27.78,15.06)])
A(pam4drv_msb_lay, Via2, -20.05, 2.725, 0.19, 0.19, 3, 3, 0.5, 0.5)
A(pam4drv_msb_lay, Via2, -12.2, 2.725, 0.19, 0.19, 3, 3, 0.5, 0.5)
A(pam4drv_msb_lay, Via2, 11.01, 2.725, 0.19, 0.19, 3, 3, 0.5, 0.5)
A(pam4drv_msb_lay, Via2, 18.86, 2.725, 0.19, 0.19, 3, 3, 0.5, 0.5)
A(pam4drv_msb_lay, Via2, -24.075, 18.49, 0.19, 0.19, 3, 3, 0.5, 0.5)
A(pam4drv_msb_lay, Via2, -2.915, 18.49, 0.19, 0.19, 3, 3, 0.5, 0.5)
A(pam4drv_msb_lay, Via2, 6.985, 18.49, 0.19, 0.19, 3, 3, 0.5, 0.5)
A(pam4drv_msb_lay, Via2, -8.175, 26.51, 0.19, 0.19, 3, 3, 0.5, 0.5)
A(pam4drv_msb_lay, Via2, 1.725, 26.51, 0.19, 0.19, 3, 3, 0.5, 0.5)
A(pam4drv_msb_lay, Via2, 22.885, 26.51, 0.19, 0.19, 3, 3, 0.5, 0.5)
A(pam4drv_msb_lay, Via2, -2.915, 35.165, 0.19, 0.19, 3, 3, 0.5, 0.5)
A(pam4drv_msb_lay, Via2, 1.725, 35.165, 0.19, 0.19, 3, 3, 0.5, 0.5)
R(pam4drv_msb_lay, Via2, [(-4.97,-10.755,-4.78,-10.565), (-4.47,-10.755,-4.28,-10.565), (0.855,-10.755,1.045,-10.565), (1.355,-10.755,1.545,-10.565), (26.09,-10.755,26.28,-10.565), (26.59,-10.755,26.78,-10.565), (-4.97,-10.255,-4.78,-10.065), (-4.47,-10.255,-4.28,-10.065), (0.855,-10.255,1.045,-10.065), (1.355,-10.255,1.545,-10.065), (26.09,-10.255,26.28,-10.065), (26.59,-10.255,26.78,-10.065), (-26.78,-7.125,-26.59,-6.935), (-26.28,-7.125,-26.09,-6.935), (-1.545,-7.125,-1.355,-6.935), (-1.045,-7.125,-0.855,-6.935), (4.28,-7.125,4.47,-6.935), (4.78,-7.125,4.97,-6.935), (-26.78,-6.625,-26.59,-6.435), (-26.28,-6.625,-26.09,-6.435), (-1.545,-6.625,-1.355,-6.435), (-1.045,-6.625,-0.855,-6.435), (4.28,-6.625,4.47,-6.435), (4.78,-6.625,4.97,-6.435)])
R(pam4drv_msb_lay, Metal3, [(-5.125,-10.91,-4.125,-9.91), (0.7,-10.91,1.7,-9.91), (25.935,-10.91,26.935,-9.91), (-26.935,-7.28,-25.935,-6.28), (-1.7,-7.28,-0.7,-6.28), (4.125,-7.28,5.125,-6.28), (-20.215,2.56,-18.695,4.08), (-12.365,2.56,-10.845,4.08), (10.845,2.56,12.365,4.08), (18.695,2.56,20.215,4.08), (-24.24,18.325,-22.72,19.845), (-3.08,18.325,-1.56,19.845), (6.82,18.325,8.34,19.845), (-8.34,26.345,-6.82,27.865), (1.56,26.345,3.08,27.865), (22.72,26.345,24.24,27.865), (-3.08,35,-1.56,36.52), (1.56,35,3.08,36.52)])
A(pam4drv_msb_lay, EmWind, -25.365, 2.88, 0.07, 0.9, 3, 2, 1.85, 8.85)
A(pam4drv_msb_lay, EmWind, -9.465, 2.88, 0.07, 0.9, 3, 2, 1.85, 8.85)
A(pam4drv_msb_lay, EmWind, 5.695, 2.88, 0.07, 0.9, 3, 2, 1.85, 8.85)
A(pam4drv_msb_lay, EmWind, 21.595, 2.88, 0.07, 0.9, 3, 2, 1.85, 8.85)
R(pam4drv_msb_lay, MIM, [(-17.255,1.595,-13.805,5.045), (13.805,1.595,17.255,5.045)])
A(pam4drv_msb_lay, Via3, -20.05, 2.725, 0.19, 0.19, 3, 3, 0.5, 0.5)
A(pam4drv_msb_lay, Via3, -12.2, 2.725, 0.19, 0.19, 3, 3, 0.5, 0.5)
A(pam4drv_msb_lay, Via3, 11.01, 2.725, 0.19, 0.19, 3, 3, 0.5, 0.5)
A(pam4drv_msb_lay, Via3, 18.86, 2.725, 0.19, 0.19, 3, 3, 0.5, 0.5)
A(pam4drv_msb_lay, Via3, -24.075, 18.49, 0.19, 0.19, 3, 3, 0.5, 0.5)
A(pam4drv_msb_lay, Via3, -2.915, 18.49, 0.19, 0.19, 3, 3, 0.5, 0.5)
A(pam4drv_msb_lay, Via3, 6.985, 18.49, 0.19, 0.19, 3, 3, 0.5, 0.5)
A(pam4drv_msb_lay, Via3, -8.175, 26.51, 0.19, 0.19, 3, 3, 0.5, 0.5)
A(pam4drv_msb_lay, Via3, 1.725, 26.51, 0.19, 0.19, 3, 3, 0.5, 0.5)
A(pam4drv_msb_lay, Via3, 22.885, 26.51, 0.19, 0.19, 3, 3, 0.5, 0.5)
A(pam4drv_msb_lay, Via3, -2.915, 35.165, 0.19, 0.19, 3, 3, 0.5, 0.5)
A(pam4drv_msb_lay, Via3, 1.725, 35.165, 0.19, 0.19, 3, 3, 0.5, 0.5)
R(pam4drv_msb_lay, Via3, [(-4.97,-10.755,-4.78,-10.565), (-4.47,-10.755,-4.28,-10.565), (0.855,-10.755,1.045,-10.565), (1.355,-10.755,1.545,-10.565), (26.09,-10.755,26.28,-10.565), (26.59,-10.755,26.78,-10.565), (-4.97,-10.255,-4.78,-10.065), (-4.47,-10.255,-4.28,-10.065), (0.855,-10.255,1.045,-10.065), (1.355,-10.255,1.545,-10.065), (26.09,-10.255,26.28,-10.065), (26.59,-10.255,26.78,-10.065), (-26.78,-7.125,-26.59,-6.935), (-26.28,-7.125,-26.09,-6.935), (-1.545,-7.125,-1.355,-6.935), (-1.045,-7.125,-0.855,-6.935), (4.28,-7.125,4.47,-6.935), (4.78,-7.125,4.97,-6.935), (-26.78,-6.625,-26.59,-6.435), (-26.28,-6.625,-26.09,-6.435), (-1.545,-6.625,-1.355,-6.435), (-1.045,-6.625,-0.855,-6.435), (4.28,-6.625,4.47,-6.435), (4.78,-6.625,4.97,-6.435)])
R(pam4drv_msb_lay, Metal4, [(-20.215,2.56,-18.695,4.08), (-12.365,2.56,-10.845,4.08), (10.845,2.56,12.365,4.08), (18.695,2.56,20.215,4.08), (-24.24,18.325,-22.72,19.845), (-3.08,18.325,-1.56,19.845), (6.82,18.325,8.34,19.845), (-8.34,26.345,-6.82,27.865), (1.56,26.345,3.08,27.865), (22.72,26.345,24.24,27.865), (-3.08,35,-1.56,36.52), (1.56,35,3.08,36.52)])
P(pam4drv_msb_lay, Metal4, [(-5.125,-10.91),(-5.125,-10.71),(-5.625,-10.71),(-5.625,-10.11),(-5.125,-10.11),(-5.125,-9.91),(-4.125,-9.91),(-4.125,-10.11),(0.7,-10.11),(0.7,-9.91),(1.7,-9.91),(1.7,-10.11),(25.935,-10.11),(25.935,-9.91),(26.935,-9.91),(26.935,-10.11),(27.435,-10.11),(27.435,-10.71),(26.935,-10.71),(26.935,-10.91),(25.935,-10.91),(25.935,-10.71),(1.7,-10.71),(1.7,-10.91),(0.7,-10.91),(0.7,-10.71),(-4.125,-10.71),(-4.125,-10.91)],
  [(-26.935,-7.28),(-26.935,-7.08),(-27.435,-7.08),(-27.435,-6.48),(-26.935,-6.48),(-26.935,-6.28),(-25.935,-6.28),(-25.935,-6.48),(-1.7,-6.48),(-1.7,-6.28),(-0.7,-6.28),(-0.7,-6.48),(4.125,-6.48),(4.125,-6.28),(5.125,-6.28),(5.125,-6.48),(5.625,-6.48),(5.625,-7.08),(5.125,-7.08),(5.125,-7.28),(4.125,-7.28),(4.125,-7.08),(-0.7,-7.08),(-0.7,-7.28),(-1.7,-7.28),(-1.7,-7.08),(-25.935,-7.08),(-25.935,-7.28)])
R(pam4drv_msb_lay, Metal4_23, [(-17.855,0.995,-13.205,5.645), (13.205,0.995,17.855,5.645)])
R(pam4drv_msb_lay, L52_0, [(-1.49,-14.96,-0.91,-12.11), (0.91,-14.96,1.49,-12.11), (-25.785,-2.25,-21.175,-1.4), (-9.885,-2.25,-5.275,-1.4), (5.275,-2.25,9.885,-1.4), (21.175,-2.25,25.785,-1.4), (-2.825,30.13,-1.815,35.56), (1.815,30.13,2.825,35.56)])
A(pam4drv_msb_lay, Via4, -20.05, 2.725, 0.19, 0.19, 3, 3, 0.5, 0.5)
A(pam4drv_msb_lay, Via4, -12.2, 2.725, 0.19, 0.19, 3, 3, 0.5, 0.5)
A(pam4drv_msb_lay, Via4, 11.01, 2.725, 0.19, 0.19, 3, 3, 0.5, 0.5)
A(pam4drv_msb_lay, Via4, 18.86, 2.725, 0.19, 0.19, 3, 3, 0.5, 0.5)
A(pam4drv_msb_lay, Via4, -24.075, 18.49, 0.19, 0.19, 3, 3, 0.5, 0.5)
A(pam4drv_msb_lay, Via4, -2.915, 18.49, 0.19, 0.19, 3, 3, 0.5, 0.5)
A(pam4drv_msb_lay, Via4, 6.985, 18.49, 0.19, 0.19, 3, 3, 0.5, 0.5)
A(pam4drv_msb_lay, Via4, -8.175, 26.51, 0.19, 0.19, 3, 3, 0.5, 0.5)
A(pam4drv_msb_lay, Via4, 1.725, 26.51, 0.19, 0.19, 3, 3, 0.5, 0.5)
A(pam4drv_msb_lay, Via4, 22.885, 26.51, 0.19, 0.19, 3, 3, 0.5, 0.5)
A(pam4drv_msb_lay, Via4, -2.915, 35.165, 0.19, 0.19, 3, 3, 0.5, 0.5)
A(pam4drv_msb_lay, Via4, 1.725, 35.165, 0.19, 0.19, 3, 3, 0.5, 0.5)
R(pam4drv_msb_lay, Metal5, [(-12.365,2.56,-10.845,4.08), (18.695,2.56,20.215,4.08), (-24.24,18.325,-22.72,19.845), (-3.08,18.325,-1.56,19.845), (6.82,18.325,8.34,19.845), (-8.34,26.345,-6.82,27.865), (1.56,26.345,3.08,27.865), (22.72,26.345,24.24,27.865), (-3.08,35,-1.56,36.52), (1.56,35,3.08,36.52)])
P(pam4drv_msb_lay, Metal5, [(-17.855,0.995),(-17.855,2.82),(-18.695,2.82),(-18.695,2.56),(-20.215,2.56),(-20.215,4.08),(-18.695,4.08),(-18.695,3.82),(-17.855,3.82),(-17.855,5.645),(-13.205,5.645),(-13.205,0.995)],
  [(13.205,0.995),(13.205,2.82),(12.365,2.82),(12.365,2.56),(10.845,2.56),(10.845,4.08),(12.365,4.08),(12.365,3.82),(13.205,3.82),(13.205,5.645),(17.855,5.645),(17.855,0.995)])
R(pam4drv_msb_lay, Metal5_pin, [(-17.855,2.32,-16.855,4.32), (13.205,2.32,14.205,4.32)])
R(pam4drv_msb_lay, Metal5_23, [(-17.855,0.995,-13.205,5.645), (13.205,0.995,17.855,5.645)])
R(pam4drv_msb_lay, L69_0, [(-17.855,0.995,-13.205,5.645), (13.205,0.995,17.855,5.645)])
R(pam4drv_msb_lay, EXTBlock, [(-1.67,-15.49,-0.73,-11.58), (0.73,-15.49,1.67,-11.58), (-25.965,-2.78,-20.995,-0.87), (-10.065,-2.78,-5.095,-0.87), (5.095,-2.78,10.065,-0.87), (20.995,-2.78,25.965,-0.87), (-3.005,29.6,-1.635,36.09), (1.635,29.6,3.005,36.09)])
R(pam4drv_msb_lay, TopVia1, [(-11.815,3.11,-11.395,3.53), (19.245,3.11,19.665,3.53), (-23.69,18.875,-23.27,19.295), (-2.53,18.875,-2.11,19.295), (7.37,18.875,7.79,19.295), (-7.79,26.895,-7.37,27.315), (2.11,26.895,2.53,27.315), (23.27,26.895,23.69,27.315), (-2.53,35.55,-2.11,35.97), (2.11,35.55,2.53,35.97)])
R(pam4drv_msb_lay, TopMetal1, [(-16.895,1.955,-10.785,4.685), (14.165,1.955,20.275,4.685), (-24.98,18.26,9.08,19.91), (-8.53,26.155,-6.63,28.055), (1.37,26.155,3.27,28.055), (22.53,26.155,24.43,28.055), (-3.27,34.81,-1.37,36.71), (1.37,34.81,3.27,36.71)])
R(pam4drv_msb_lay, TopMetal1_pin, [(-15.165,2.32,-14.165,4.32), (15.895,2.32,16.895,4.32)])
R(pam4drv_msb_lay, TopMetal1_23, [(-17.855,0.995,-13.205,5.645), (13.205,0.995,17.855,5.645)])
R(pam4drv_msb_lay, PolyRes, [(-1.49,-14.96,-0.91,-12.11), (0.91,-14.96,1.49,-12.11), (-25.785,-2.25,-21.175,-1.4), (-9.885,-2.25,-5.275,-1.4), (5.275,-2.25,9.885,-1.4), (21.175,-2.25,25.785,-1.4), (-2.825,30.13,-1.815,35.56), (1.815,30.13,2.825,35.56)])
R(pam4drv_msb_lay, Vmim, [(-16.21,2.64,-15.79,3.06), (-15.27,2.64,-14.85,3.06), (14.85,2.64,15.27,3.06), (15.79,2.64,16.21,3.06), (-16.21,3.58,-15.79,4), (-15.27,3.58,-14.85,4), (14.85,3.58,15.27,4), (15.79,3.58,16.21,4)])
R(pam4drv_msb_lay, TopVia2, [(-8.03,26.655,-7.13,27.555), (1.87,26.655,2.77,27.555), (23.03,26.655,23.93,27.555), (-2.77,35.31,-1.87,36.21), (1.87,35.31,2.77,36.21)])
R(pam4drv_msb_lay, TopMetal2, [(-9.08,26.105,24.98,28.105), (-24.98,33.26,24.98,38.26)])
R(pam4drv_msb_lay, TopMetal2_23, [(-17.855,0.995,-13.205,5.645), (13.205,0.995,17.855,5.645)])
pam4drv_msb_lay.add(gdstk.Label('tail0', (-15.53,-3.75), layer=8, texttype=25))
pam4drv_msb_lay.add(gdstk.Label('tail1', (15.53,-3.75), layer=8, texttype=25))
pam4drv_msb_lay.add(gdstk.Label('vcasc', (-27.5,11.04), layer=8, texttype=25))
pam4drv_msb_lay.add(gdstk.Label('vcmb', (0,-16.36), layer=8, texttype=25))
pam4drv_msb_lay.add(gdstk.Label('sub', (0.5,-20.26), layer=8, texttype=25))
pam4drv_msb_lay.add(gdstk.Label('inp', (-1.2,-6.78), layer=50, texttype=25))
pam4drv_msb_lay.add(gdstk.Label('inn', (1.2,-10.41), layer=50, texttype=25))
pam4drv_msb_lay.add(gdstk.Label('npn13G2', (-25.315,5.64), layer=63, texttype=0))
pam4drv_msb_lay.add(gdstk.Label('C', (-23.48,4.57), layer=63, texttype=0))
pam4drv_msb_lay.add(gdstk.Label('B', (-23.48,2.19), layer=63, texttype=0))
pam4drv_msb_lay.add(gdstk.Label('E', (-23.48,3.323), layer=63, texttype=0))
pam4drv_msb_lay.add(gdstk.Label('Ae=3*1*0.07*0.90', (-27.307,0.784), layer=63, texttype=0))
pam4drv_msb_lay.add(gdstk.Label('npn13G2', (-9.415,5.64), layer=63, texttype=0))
pam4drv_msb_lay.add(gdstk.Label('C', (-7.58,4.57), layer=63, texttype=0))
pam4drv_msb_lay.add(gdstk.Label('B', (-7.58,2.19), layer=63, texttype=0))
pam4drv_msb_lay.add(gdstk.Label('E', (-7.58,3.323), layer=63, texttype=0))
pam4drv_msb_lay.add(gdstk.Label('Ae=3*1*0.07*0.90', (-11.407,0.784), layer=63, texttype=0))
pam4drv_msb_lay.add(gdstk.Label('npn13G2', (-25.315,14.49), layer=63, texttype=0))
pam4drv_msb_lay.add(gdstk.Label('C', (-23.48,13.42), layer=63, texttype=0))
pam4drv_msb_lay.add(gdstk.Label('B', (-23.48,11.04), layer=63, texttype=0))
pam4drv_msb_lay.add(gdstk.Label('E', (-23.48,12.173), layer=63, texttype=0))
pam4drv_msb_lay.add(gdstk.Label('Ae=3*1*0.07*0.90', (-27.307,9.634), layer=63, texttype=0))
pam4drv_msb_lay.add(gdstk.Label('npn13G2', (-9.415,14.49), layer=63, texttype=0))
pam4drv_msb_lay.add(gdstk.Label('C', (-7.58,13.42), layer=63, texttype=0))
pam4drv_msb_lay.add(gdstk.Label('B', (-7.58,11.04), layer=63, texttype=0))
pam4drv_msb_lay.add(gdstk.Label('E', (-7.58,12.173), layer=63, texttype=0))
pam4drv_msb_lay.add(gdstk.Label('Ae=3*1*0.07*0.90', (-11.407,9.634), layer=63, texttype=0))
pam4drv_msb_lay.add(gdstk.Label('PLUS', (-14.665,3.32), layer=63, texttype=0))
pam4drv_msb_lay.add(gdstk.Label('MINUS', (-17.755,3.32), layer=63, texttype=0))
pam4drv_msb_lay.add(gdstk.Label('cmim', (-15.53,4.685), layer=63, texttype=0))
pam4drv_msb_lay.add(gdstk.Label('C = 11.699799999999998 fF', (-15.53,1.955), layer=63, texttype=0))
pam4drv_msb_lay.add(gdstk.Label('npn13G2', (5.745,5.64), layer=63, texttype=0))
pam4drv_msb_lay.add(gdstk.Label('C', (7.58,4.57), layer=63, texttype=0))
pam4drv_msb_lay.add(gdstk.Label('B', (7.58,2.19), layer=63, texttype=0))
pam4drv_msb_lay.add(gdstk.Label('E', (7.58,3.323), layer=63, texttype=0))
pam4drv_msb_lay.add(gdstk.Label('Ae=3*1*0.07*0.90', (3.753,0.784), layer=63, texttype=0))
pam4drv_msb_lay.add(gdstk.Label('npn13G2', (21.645,5.64), layer=63, texttype=0))
pam4drv_msb_lay.add(gdstk.Label('C', (23.48,4.57), layer=63, texttype=0))
pam4drv_msb_lay.add(gdstk.Label('B', (23.48,2.19), layer=63, texttype=0))
pam4drv_msb_lay.add(gdstk.Label('E', (23.48,3.323), layer=63, texttype=0))
pam4drv_msb_lay.add(gdstk.Label('Ae=3*1*0.07*0.90', (19.653,0.784), layer=63, texttype=0))
pam4drv_msb_lay.add(gdstk.Label('npn13G2', (5.745,14.49), layer=63, texttype=0))
pam4drv_msb_lay.add(gdstk.Label('C', (7.58,13.42), layer=63, texttype=0))
pam4drv_msb_lay.add(gdstk.Label('B', (7.58,11.04), layer=63, texttype=0))
pam4drv_msb_lay.add(gdstk.Label('E', (7.58,12.173), layer=63, texttype=0))
pam4drv_msb_lay.add(gdstk.Label('Ae=3*1*0.07*0.90', (3.753,9.634), layer=63, texttype=0))
pam4drv_msb_lay.add(gdstk.Label('npn13G2', (21.645,14.49), layer=63, texttype=0))
pam4drv_msb_lay.add(gdstk.Label('C', (23.48,13.42), layer=63, texttype=0))
pam4drv_msb_lay.add(gdstk.Label('B', (23.48,11.04), layer=63, texttype=0))
pam4drv_msb_lay.add(gdstk.Label('E', (23.48,12.173), layer=63, texttype=0))
pam4drv_msb_lay.add(gdstk.Label('Ae=3*1*0.07*0.90', (19.653,9.634), layer=63, texttype=0))
pam4drv_msb_lay.add(gdstk.Label('PLUS', (16.395,3.32), layer=63, texttype=0))
pam4drv_msb_lay.add(gdstk.Label('MINUS', (13.305,3.32), layer=63, texttype=0))
pam4drv_msb_lay.add(gdstk.Label('cmim', (15.53,4.685), layer=63, texttype=0))
pam4drv_msb_lay.add(gdstk.Label('C = 11.699799999999998 fF', (15.53,1.955), layer=63, texttype=0))
pam4drv_msb_lay.add(gdstk.Label('outp', (-23.98,19.085), layer=126, texttype=25))
pam4drv_msb_lay.add(gdstk.Label('outn', (-8.08,27.105), layer=134, texttype=25))
pam4drv_msb_lay.add(gdstk.Label('vcc', (0,35.76), layer=134, texttype=25))

lib.write_gds('pam4drv_msb_lay.gds')
